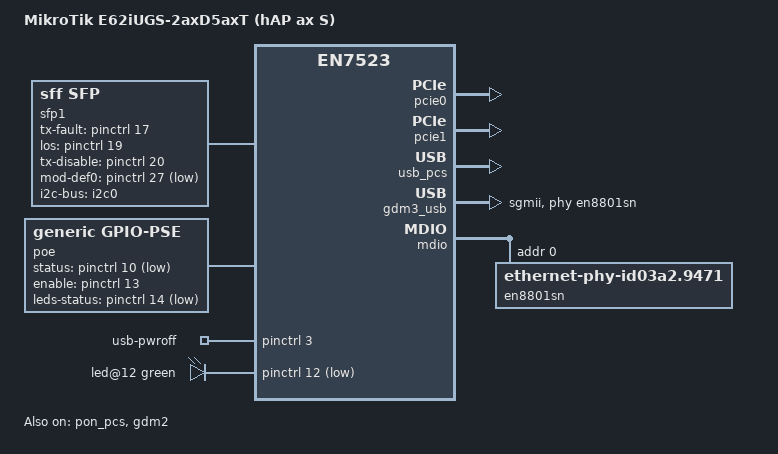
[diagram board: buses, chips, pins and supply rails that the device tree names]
/* SPDX-License-Identifier: GPL-2.0-or-later OR MIT */

#include "en7523-mikrotik.dtsi"

/ {
	model = "MikroTik E62iUGS-2axD5axT (hAP ax S)";
	compatible = "mikrotik,e62iugs-2axd5axt", "airoha,en7523";

	aliases {
		label-mac-device = <&macaddr_hard 0>;
	};

	sfp1: sfp {
		compatible = "sff,sfp";

		maximum-power-milliwatt = <3000>;
		i2c-bus = <&i2c0>;

		tx-fault-gpios = <&pinctrl 17 GPIO_ACTIVE_HIGH>;
		los-gpios = <&pinctrl 19 GPIO_ACTIVE_HIGH>;
		tx-disable-gpios = <&pinctrl 20 GPIO_ACTIVE_HIGH>;
		mod-def0-gpios = <&pinctrl 27 GPIO_ACTIVE_LOW>;
	};

	poe: ethernet-pse {
		compatible = "generic,gpio-pse", "mikrotik,gpio-poe";

		status-gpios = <&pinctrl 10 GPIO_ACTIVE_LOW>;
		enable-gpios = <&pinctrl 13 GPIO_ACTIVE_HIGH>;
		leds-status-gpios = <&pinctrl 14 GPIO_ACTIVE_LOW>;

		vpse-microvolt = <48000000>;

		pse-pis {
			#address-cells = <1>;
			#size-cells = <0>;

			pse_pi0: pse-pi@0 {
				reg = <0>;
				#pse-cells = <0>;
			};
		};
	};

	exports {
		compatible = "gpio-export";

		usb-pwroff {
			gpio-export,name = "usb-pwroff";
			gpio-export,output = <0>;

			/* inverted */
			gpios = <&pinctrl 3 GPIO_ACTIVE_HIGH>;
		};
	};
};

&btns {
	/delete-node/ mode;
};

&led_power {
	color = <LED_COLOR_ID_GREEN>;
};

&leds {
	/* sfp1 */
	led@12 {
		color = <LED_COLOR_ID_GREEN>;
		function = LED_FUNCTION_WAN;
		function-enumerator = <12>;
		gpios = <&pinctrl 12 GPIO_ACTIVE_LOW>;
	};
};

&pcie0 {
	status = "okay";
};

&pcie1 {
	status = "okay";

	pcie@1,0 {
		reg = <0x00000800 0 0 0 0>;
		#address-cells = <3>;
		#size-cells = <2>;

		mt7915@0,0 {
			reg = <0x0000 0 0 0 0>;
			#address-cells = <1>;
			#size-cells = <0>;
			airoha,npu = <&npu>;
			airoha,eth = <&eth>;

			/* 2.4 GHz */
			band@0 {
				reg = <0>;
				nvmem-cells = <&macaddr_hard 6>;
				nvmem-cell-names = "mac-address";
			};

			/* 5 GHz */
			band@1 {
				reg = <1>;
				nvmem-cells = <&macaddr_hard 7>;
				nvmem-cell-names = "mac-address";
			};
		};
	};
};

&pon_pcs {
	status = "okay";
};

&usb_pcs {
	status = "okay";
};

&gdm2 {
	status = "okay";

	nvmem-cells = <&macaddr_hard 5>;
	nvmem-cell-names = "mac-address";

	openwrt,netdev-name = "sfp";

	phy-mode = "2500base-x";
	managed = "in-band-status";
	sfp = <&sfp1>;
};

&gdm3_usb {
	status = "okay";

	nvmem-cells = <&macaddr_hard 0>;
	nvmem-cell-names = "mac-address";

	openwrt,netdev-name = "wan";

	phy-mode = "sgmii";
	managed = "in-band-status";
	phy-handle = <&en8801sn>;
};

&mdio {
	en8801sn: ethernet-phy@0 {
		compatible = "ethernet-phy-id03a2.9471";
		reg = <0x0>;
		phy-mode = "sgmii";

		leds {
			#address-cells = <1>;
			#size-cells = <0>;

			led@1 {
				reg = <1>;

				color = <LED_COLOR_ID_GREEN>;
				function = LED_FUNCTION_WAN;
			};
		};
	};
};

&gsw_port1 {
	label = "lan5";
	nvmem-cells = <&macaddr_hard 4>;
};

&gsw_port2 {
	label = "lan4";
	nvmem-cells = <&macaddr_hard 3>;
};

&gsw_port3 {
	label = "lan3";
	nvmem-cells = <&macaddr_hard 2>;
};

&gsw_port4 {
	label = "lan2";
	nvmem-cells = <&macaddr_hard 1>;
};

&gsw_phy1 {
	pses = <&pse_pi0>;
};

&swp1_led0 {
	mux {
		pins = "gpio25";
	};
};

&swp2_led0 {
	mux {
		pins = "gpio24";
	};
};

&swp3_led0 {
	mux {
		pins = "gpio23";
	};
};

&swp4_led0 {
	mux {
		pins = "gpio22";
	};
};
